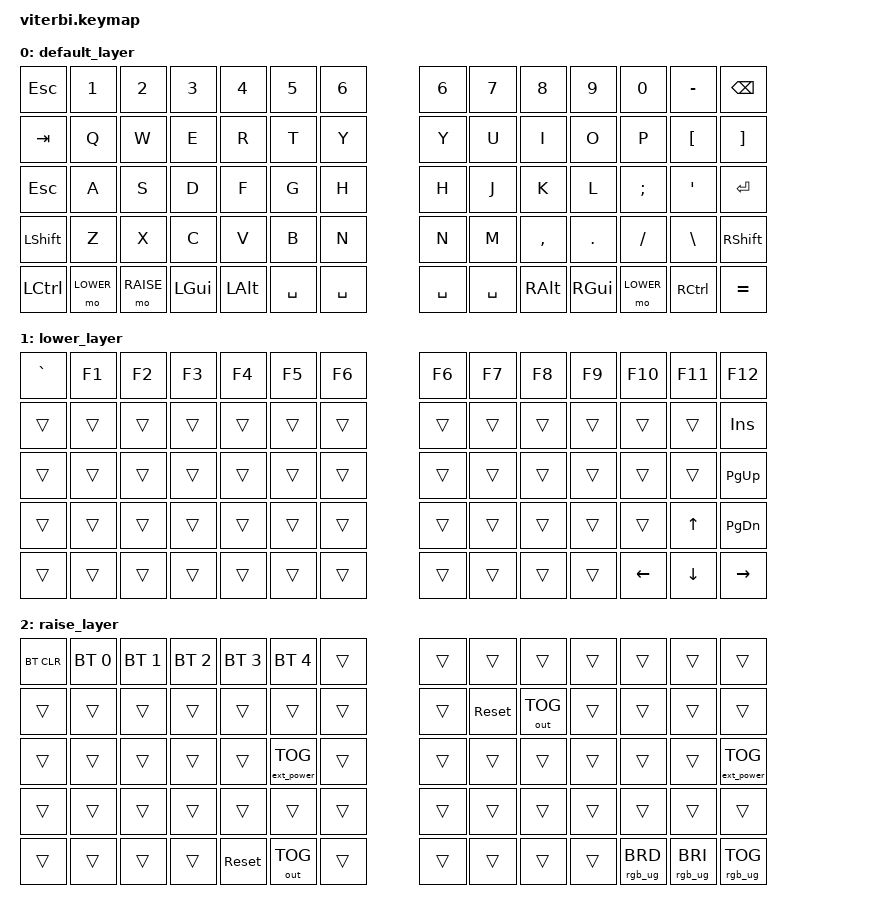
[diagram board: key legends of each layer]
/*
 * Copyright (c) 2021 The ZMK Contributors
 *
 * SPDX-License-Identifier: MIT
 */

 #include <behaviors.dtsi>
 #include <dt-bindings/zmk/keys.h>
 #include <dt-bindings/zmk/bt.h>
 #include <dt-bindings/zmk/rgb.h>
 #include <dt-bindings/zmk/ext_power.h>
 #include <dt-bindings/zmk/outputs.h>

#define DEFAULT 0
#define LOWER	1
#define RAISE	2
/ {
       keymap {
              compatible = "zmk,keymap";
 
              default_layer {
 // ------------------------------------------------------------------------------   ------------------------------------------------------------------------------
 // | ESC      |    1     |    2     |    3     |    4     |     5    |     6    |   |    6     |     7    |     8    |     9    |     0    |    -     |   BSPC   |
 // | TAB      |    Q     |    W     |    E     |    R     |     T    |     Y    |   |    Y     |     U    |     I    |     O    |     P    |    [     |    ]     |
 // | ESC      |    A     |    S     |    D     |    F     |     G    |     H    |   |    H     |     J    |     K    |     L    |     ;    |    '     |   RET    |
 // | LSHIFT   |    Z     |    X     |    C     |    V     |     B    |     N    |   |    N     |     M    |     ,    |     .    |     /    |    \     |  RSHIFT  |
 // | LCTRL    |  LOWER   |  RAISE   |  LGUI    |   LALT   |   SPACE  |   SPACE  |   |  SPACE   |  SPACE   |   RALT   |   RGUI   |   LOWER  |   RCTRL  |    =     |
 // ------------------------------------------------------------------------------   ------------------------------------------------------------------------------
                     bindings = <
     &kp ESC     &kp N1    &kp N2      &kp N3     &kp N4     &kp N5     &kp N6        &kp N6      &kp N7     &kp N8     &kp N9     &kp N0     &kp MINUS  &kp BSPC
     &kp TAB     &kp Q     &kp W       &kp E      &kp R      &kp T      &kp Y         &kp Y       &kp U      &kp I      &kp O      &kp P      &kp LBKT   &kp RBKT
     &kp ESC     &kp A     &kp S       &kp D      &kp F      &kp G      &kp H         &kp H       &kp J      &kp K      &kp L      &kp SEMI   &kp SQT    &kp RET
     &kp LSHFT   &kp Z     &kp X       &kp C      &kp V      &kp B      &kp N         &kp N       &kp M      &kp COMMA  &kp DOT    &kp FSLH   &kp BSLH   &kp RSHFT
     &kp LCTRL   &mo LOWER &mo RAISE   &kp LGUI   &kp LALT   &kp SPACE  &kp SPACE     &kp SPACE   &kp SPACE  &kp RALT   &kp RGUI   &mo LOWER  &kp RCTRL  &kp EQUAL
                     >;
              };
              lower_layer {
 // ------------------------------------------------------------------------------   ------------------------------------------------------------------------------
 // | `        |    F1    |    F2    |    F3    |    F4    |     F5   |     F6   |   |    F6    |     F7   |     F8   |     F9   |    F10   |   F11    |    F12   |
 // |          |          |          |          |          |          |          |   |          |          |          |          |          |  PRNTSCR |    INS   |
 // |          |          |          |          |          |          |          |   |          |          |          |          |          |          |   PGUP   |
 // |          |          |          |          |          |          |          |   |          |          |          |          |          |    UP    |   PGDN   |
 // |          |          |          |          |          |          |          |   |          |          |          |          |   LEFT   |   DOWN   |   RIGHT  |
 // ------------------------------------------------------------------------------   ------------------------------------------------------------------------------
                     bindings = <
     &kp GRAVE   &kp F1      &kp F2     &kp F3    &kp F4      &kp F5    &kp F6         &kp F6      &kp F7     &kp F8    &kp F9     &kp F10    &kp F11    &kp F12
     &trans      &trans      &trans     &trans    &trans      &trans    &trans         &trans      &trans    &trans     &trans     &trans     &trans     &kp INS
     &trans      &trans      &trans     &trans    &trans      &trans    &trans         &trans      &trans    &trans     &trans     &trans     &trans     &kp PG_UP
     &trans      &trans      &trans     &trans    &trans      &trans    &trans         &trans      &trans    &trans     &trans     &trans     &kp UP     &kp PG_DN
     &trans      &trans      &trans     &trans    &trans      &trans    &trans         &trans      &trans    &trans     &trans     &kp LEFT   &kp DOWN   &kp RIGHT
                     >;
              };
              raise_layer {
 // ------------------------------------------------------------------------------------------         -------------------------------------------------------------------------------------
 // | BT CLR   | BTSEL0      | BTSEL1      | BTSEL2      | BTSEL3      | BTSEL4     |        |         |        |         |            |         |               |               |         |
 // |          |             |             |             |             |            |        |         |        | RESET   | OUT_TOG    |         |               |               |         |
 // |          |             |             |             |             | EP_TOG     |        |         |        |         |            |         |               |               | EP TOG  |
 // |          |             |             |             |             |            |        |         |        |         |            |         |               |               |         |
 // |          |             |             |             | RESET       | OUT_TOG    |        |         |        |         |            |         | RGB BRI-      | RGB BRI+      | RGB TOG |
 // ------------------------------------------------------------------------------------------         -------------------------------------------------------------------------------------
                     bindings = <
     &bt BT_CLR &bt BT_SEL 0  &bt BT_SEL 1  &bt BT_SEL 2  &bt BT_SEL 3  &bt BT_SEL 4      &trans       &trans   &trans    &trans       &trans    &trans          &trans          &trans
     &trans     &trans        &trans        &trans        &trans        &trans            &trans       &trans   &sys_reset    &out OUT_TOG &trans    &trans          &trans          &trans
     &trans     &trans        &trans        &trans        &trans        &ext_power EP_TOG &trans       &trans   &trans    &trans       &trans    &trans          &trans          &ext_power EP_TOG
     &trans     &trans        &trans        &trans        &trans        &trans            &trans       &trans   &trans    &trans       &trans    &trans          &trans          &trans
     &trans     &trans        &trans        &trans        &sys_reset        &out OUT_TOG      &trans       &trans   &trans    &trans       &trans    &rgb_ug RGB_BRD &rgb_ug RGB_BRI &rgb_ug RGB_TOG
                     >;
              };
       };
};
